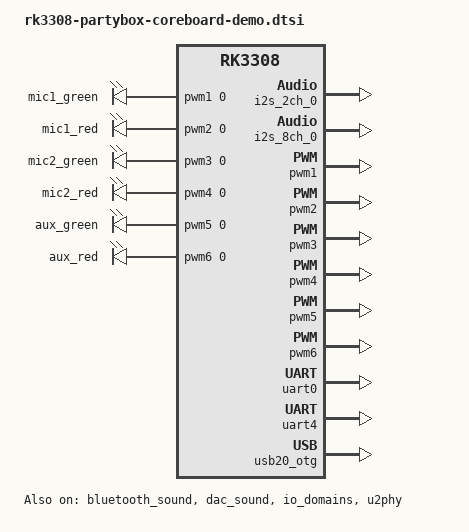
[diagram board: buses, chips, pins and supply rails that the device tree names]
// SPDX-License-Identifier: (GPL-2.0+ OR MIT)
/*
 * Copyright (c) 2024 Rockchip Electronics Co., Ltd.
 */

#include <dt-bindings/input/input.h>
#include "rk3308-partybox.dtsi"

/ {
	chosen {
		bootargs = "earlycon=uart8250,mmio32,0xff0c0000 console=ttyFIQ0 root=PARTUUID=614e0000-0000 rootfstype=squashfs rootwait isolcpus=2,3 nohz_full=2,3 snd_soc_core.prealloc_buffer_size_kbytes=16";
	};

	pwm-leds {
		compatible = "pwm-leds";

		mic1-green-led {
			label = "mic1_green";
			pwms = <&pwm1 0 50000 0>;
			default-state = "off";
		};
		mic1-red-led {
			label = "mic1_red";
			pwms = <&pwm2 0 50000 0>;
			default-state = "off";
		};
		mic2-green-led {
			label = "mic2_green";
			pwms = <&pwm3 0 50000 0>;
			default-state = "off";
		};
		mic2-red-led {
			label = "mic2_red";
			pwms = <&pwm4 0 50000 0>;
			default-state = "off";
		};
		aux-green-led {
			label = "aux_green";
			pwms = <&pwm5 0 50000 0>;
			default-state = "off";
		};
		aux-red-led {
			label = "aux_red";
			pwms = <&pwm6 0 50000 0>;
			default-state = "off";
		};
	};

	wireless-bluetooth {
		compatible = "bluetooth-platdata";
		uart_rts_gpios = <&gpio4 RK_PA7 GPIO_ACTIVE_LOW>;
		pinctrl-names = "default", "rts_gpio";
		pinctrl-0 = <&uart4_rts>;
		pinctrl-1 = <&uart4_rts_pin>;
		BT,power_gpio    = <&gpio4 RK_PB3 GPIO_ACTIVE_HIGH>;
		BT,wake_host_irq = <&gpio4 RK_PB4 GPIO_ACTIVE_HIGH>;
		status = "disabled";
	};
};

&acodec {
	status = "disabled";
};

&bluetooth_sound {
	status = "okay";
	rockchip,frame-master = <&bt_codec>;
	rockchip,bitclock-master = <&bt_codec>;
	rockchip,format = "i2s";
};

&i2s_2ch_0 {
	status = "okay";
	#sound-dai-cells = <0>;
};

&dac_sound {
	status = "okay";
};

&dmac0 {
	iram = <&vad_sram>;
};

&dmac1 {
	iram = <&vad_sram>;
};

&emmc {
	bus-width = <8>;
	cap-mmc-highspeed;
	mmc-hs200-1_8v;
	no-sdio;
	no-sd;
	disable-wp;
	non-removable;
	num-slots = <1>;
	status = "disabled";
};

 /*
  *	VCCIO[0:5] domains require that their hardware power supply voltages
  *	must be consistent with the software configuration correspondingly
  *	a/ When the hardware IO level is connected to 1.8V, the software voltage configuration
  *	   should also be configured to 1.8V accordingly;
  *	b/ When the hardware IO level is connected to 3.3V, the software voltage configuration
  *	   should also be configured to 3.3V accordingly;
  */
&io_domains {
	status = "okay";

	vccio0-supply = <&vcc_3v3>;
	vccio1-supply = <&vcc_3v3>;
	vccio2-supply = <&vcc_3v3>;
	vccio3-supply = <&vcc_3v3>;
	vccio4-supply = <&vcc_3v3>;
	vccio5-supply = <&vcc_3v3>;
};

&i2s_8ch_0 {
	#sound-dai-cells = <0>;
	rockchip,clk-trcm = <1>;
	status = "okay";
};

&pwm1 {
	status = "okay";
};

&pwm2 {
	status = "okay";
};

&pwm3 {
	status = "okay";
};

&pwm4 {
	status = "okay";
};

&pwm5 {
	status = "okay";
};

&pwm6 {
	status = "okay";
};

&uart0 {
	pinctrl-names = "default";
	pinctrl-0 = <&uart0_xfer &uart0_cts &uart0_rts>;
	status = "okay";
};

&uart4 {
	pinctrl-names = "default";
	pinctrl-0 = <&uart4_xfer &uart4_cts>;
	status = "okay";
};

&usb20_otg {
	status = "okay";
};

&usb_host0_ehci {
	status = "disabled";
};

&usb_host0_ohci{
	status = "disabled";
};

&u2phy {
	status = "okay";

	u2phy_host: host-port {
		status = "disabled";
	};

	u2phy_otg: otg-port {
		status = "okay";
	};
};

&vad_sram {
	pool;
};

&pinctrl {
	wireless-bluetooth {
		uart4_gpios: uart4-gpios {
			rockchip,pins = <4 RK_PA7 RK_FUNC_GPIO &pcfg_pull_none>;
		};
	};
};
